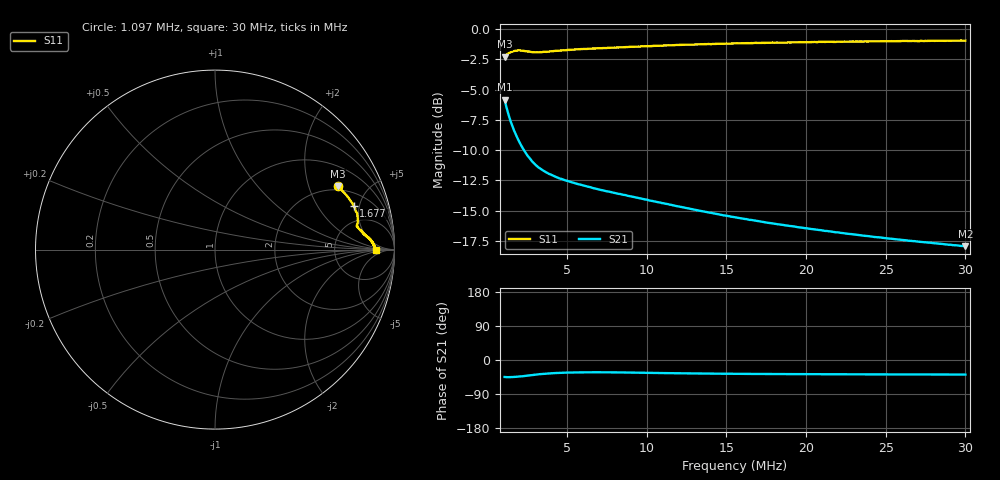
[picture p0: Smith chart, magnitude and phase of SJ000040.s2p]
!File created by NanoVNA-F V2
# Hz S RI R 50
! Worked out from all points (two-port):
!   300 points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, 1.097 MHz to 30 MHz, reference 50 ohm
!   highest |S21| = -5.84 dB at 1.097 MHz (marker M1); lowest = -17.9 dB at 30 MHz (marker M2)
!   |S21| within 3 dB of the highest: start of sweep to 1.842 MHz
!   lowest |S11| = -2.3 dB at 1.097 MHz (marker M3), VSWR 7.67, Z = 91.3 + j157 ohm
!   |S11| at or under -10 dB: nowhere
!   S12 and S22 are empty: the file has one direction only
!   S11 on the Smith chart (normalised r, x): 1.097 MHz: 1.83, +3.15; 1.677 MHz: 3.13, +4.41; 30 MHz: 18, -0
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1096666  0.6841 0.3517  0.3624 -0.3599  0 0  0 0
1289998  0.7277 0.3089  0.3196 -0.3242  0 0  0 0
1483330  0.7546 0.2726  0.2917 -0.2941  0 0  0 0
1676662  0.7739 0.2414  0.2716 -0.2697  0 0  0 0
1869994  0.7849 0.212  0.2572 -0.2494  0 0  0 0
1966660  0.792 0.2032  0.2508 -0.2401  0 0  0 0
2159992  0.7948 0.1794  0.2403 -0.2238  0 0  0 0
2449990  0.7946 0.1525  0.2285 -0.2034  0 0  0 0
2836654  0.7904 0.1378  0.2181 -0.181  0 0  0 0
3223318  0.7907 0.1289  0.2119 -0.1644  0 0  0 0
3803314  0.7971 0.1209  0.2063 -0.1479  0 0  0 0
4383310  0.8047 0.1141  0.2017 -0.1374  0 0  0 0
5929966  0.8209 0.097  0.191 -0.1226  0 0  0 0
7766620  0.8338 0.0832  0.1788 -0.1142  0 0  0 0
1.076327e7  0.8498 0.0697  0.159 -0.1084  0 0  0 0
1.250325e7  0.8603 0.0628  0.149 -0.1052  0 0  0 0
1.559657e7  0.8714 0.0474  0.134 -0.0992  0 0  0 0
1.60799e7  0.8726 0.0485  0.1322 -0.0982  0 0  0 0
1.723989e7  0.8757 0.0411  0.128 -0.0962  0 0  0 0
2.042987e7  0.8832 0.0297  0.1185 -0.0907  0 0  0 0
2.526317e7  0.8899 0.0122  0.1074 -0.0838  0 0  0 0
2.99998e7  0.8951 -0.0023  0.0993 -0.0789  0 0  0 0
